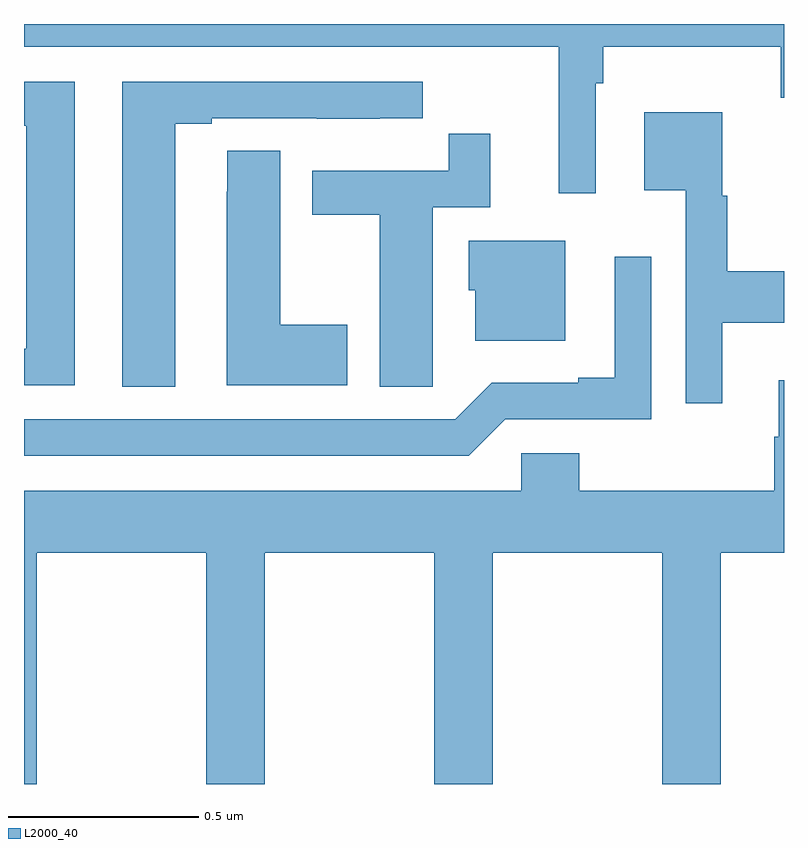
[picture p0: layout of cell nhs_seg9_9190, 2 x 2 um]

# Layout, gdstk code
import gdstk
lib = gdstk.Library(unit=1e-6, precision=1e-09)
def P(c, l, *ps):  # polygons
    for p in ps: c.add(gdstk.Polygon(p, *l))
L2000_40 = (2000, 40)

nhs_seg9_9190 = lib.new_cell('nhs_seg9_9190')
P(nhs_seg9_9190, L2000_40, [(228.504,1176.344),(228.524,1176.344),(228.524,1176.44),(228.991,1176.44),(228.991,1176.306),(229,1176.306),(229,1176.5),(227,1176.5),(227,1176.44),(228.407,1176.44),(228.407,1176.054),(228.504,1176.054)],
  [(227.134,1176.348),(227,1176.348),(227,1176.232),(227.006,1176.232),(227.006,1175.646),(227,1175.646),(227,1175.55),(227.134,1175.55)],
  [(227.398,1176.237),(227.494,1176.237),(227.494,1176.252),(227.77,1176.252),(227.77,1176.251),(227.936,1176.251),(227.936,1176.252),(228.049,1176.252),(228.049,1176.348),(227.258,1176.348),(227.258,1175.545),(227.398,1175.545)],
  [(228.838,1175.714),(229,1175.714),(229,1175.849),(228.85,1175.849),(228.85,1176.048),(228.838,1176.048),(228.838,1176.268),(228.632,1176.268),(228.632,1176.062),(228.741,1176.062),(228.741,1175.502),(228.838,1175.502)],
  [(228.075,1175.656),(228.076,1175.656),(228.076,1176.018),(228.227,1176.018),(228.227,1176.211),(228.118,1176.211),(228.118,1176.114),(227.759,1176.114),(227.759,1175.998),(227.936,1175.998),(227.936,1175.545),(228.075,1175.545)],
  [(227.851,1175.709),(227.674,1175.709),(227.674,1176.167),(227.535,1176.167),(227.535,1176.059),(227.534,1176.059),(227.534,1175.549),(227.851,1175.549)],
  [(228.424,1175.929),(228.17,1175.929),(228.17,1175.799),(228.188,1175.799),(228.188,1175.666),(228.424,1175.666)],
  [(228.267,1175.46),(228.651,1175.46),(228.651,1175.887),(228.554,1175.887),(228.554,1175.569),(228.458,1175.569),(228.458,1175.556),(228.231,1175.556),(228.135,1175.46),(227,1175.46),(227,1175.364),(228.171,1175.364)],
  [(227.034,1175.108),(227.479,1175.108),(227.479,1174.5),(227.634,1174.5),(227.634,1175.108),(228.079,1175.108),(228.079,1174.5),(228.234,1174.5),(228.234,1175.108),(228.679,1175.108),(228.679,1174.5),(228.834,1174.5),(228.834,1175.108),(229,1175.108),(229,1175.563),(228.986,1175.563),(228.986,1175.414),(228.974,1175.414),(228.974,1175.272),(228.461,1175.272),(228.461,1175.37),(228.309,1175.37),(228.309,1175.272),(227,1175.272),(227,1174.5),(227.034,1174.5)])

lib.write_gds('nhs_seg9_9190.gds')
